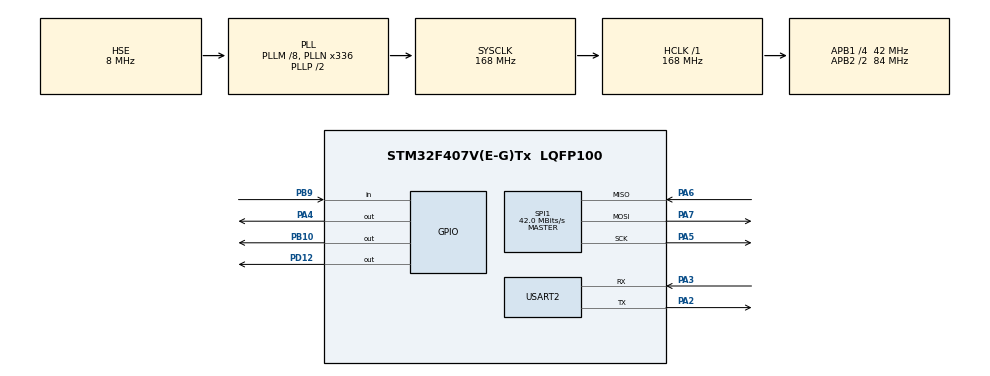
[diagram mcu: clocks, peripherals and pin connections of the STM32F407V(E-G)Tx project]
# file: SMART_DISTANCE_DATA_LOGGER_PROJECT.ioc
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FREERTOS.Queues01=DistanceQueue,10,8,1,Dynamic,NULL,NULL;UartQueue,10,50,1,Dynamic,NULL,NULL
FREERTOS.Tasks01=SensorTask,32,256,StartSensorTask,Default,NULL,Dynamic,NULL,NULL;FlashTask,24,256,StartFlashTask,Default,NULL,Dynamic,NULL,NULL;AlertTask,24,128,StartAlertTask,Default,NULL,Dynamic,NULL,NULL;UartTask,8,256,StartUartTask,Default,NULL,Dynamic,NULL,NULL
Mcu.Family=STM32F4
Mcu.Name=STM32F407V(E-G)Tx
Mcu.Package=LQFP100
NVIC.PriorityGroup=NVIC_PRIORITYGROUP_4
PA2.Mode=Asynchronous
PA2.Signal=USART2_TX
PA3.Mode=Asynchronous
PA3.Signal=USART2_RX
PA4.Signal=GPIO_Output
PA5.Mode=Full_Duplex_Master
PA5.Signal=SPI1_SCK
PA6.Mode=Full_Duplex_Master
PA6.Signal=SPI1_MISO
PA7.Mode=Full_Duplex_Master
PA7.Signal=SPI1_MOSI
PB10.Signal=GPIO_Output
PB9.Signal=GPIO_Input
PD12.Signal=GPIO_Output
PH0-OSC_IN.Mode=HSE-External-Oscillator
PH0-OSC_IN.Signal=RCC_OSC_IN
PH1-OSC_OUT.Mode=HSE-External-Oscillator
PH1-OSC_OUT.Signal=RCC_OSC_OUT
ProjectManager.HeapSize=0x200
ProjectManager.StackSize=0x400
ProjectManager.TargetToolchain=STM32CubeIDE
RCC.48MHZClocksFreq_Value=48000000
RCC.AHBFreq_Value=168000000
RCC.APB1CLKDivider=RCC_HCLK_DIV4
RCC.APB1Freq_Value=42000000
RCC.APB1TimFreq_Value=84000000
RCC.APB2CLKDivider=RCC_HCLK_DIV2
RCC.APB2Freq_Value=84000000
RCC.APB2TimFreq_Value=168000000
RCC.CortexFreq_Value=168000000
RCC.HCLKFreq_Value=168000000
RCC.HSE_VALUE=8000000
RCC.HSI_VALUE=16000000
RCC.PLLM=8
RCC.PLLN=336
RCC.PLLQ=7
RCC.PLLSourceVirtual=RCC_PLLSOURCE_HSE
RCC.SYSCLKFreq_VALUE=168000000
RCC.SYSCLKSource=RCC_SYSCLKSOURCE_PLLCLK
RCC.VCOOutputFreq_Value=336000000
SPI1.CalculateBaudRate=42.0 MBits/s
SPI1.Direction=SPI_DIRECTION_2LINES
SPI1.Mode=SPI_MODE_MASTER
SPI1.VirtualType=VM_MASTER
USART2.VirtualMode=VM_ASYNC
VP_FREERTOS_VS_CMSIS_V2.Mode=CMSIS_V2
VP_TIM3_VS_ClockSourceINT.Mode=Internal
board=STM32F407G-DISC1

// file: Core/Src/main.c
/* USER CODE BEGIN Header */
/**
  ******************************************************************************
  * @file           : main.c
  * @brief          : Main program body
  ******************************************************************************
  * @attention
  *
  * Copyright (c) 2026 STMicroelectronics.
  * All rights reserved.
  *
  * This software is licensed under terms that can be found in the LICENSE file
  * in the root directory of this software component.
  * If no LICENSE file comes with this software, it is provided AS-IS.
  *
  ******************************************************************************
  */
/* USER CODE END Header */
#include "main.h"
#include "cmsis_os.h"
#include <stdio.h>
#include <string.h>

/* USER CODE BEGIN PD */
#define TRIG_PORT GPIOB
#define TRIG_PIN  GPIO_PIN_10

#define ECHO_PORT GPIOB
#define ECHO_PIN  GPIO_PIN_9
/* USER CODE END PD */

SPI_HandleTypeDef hspi1;

TIM_HandleTypeDef htim3;

UART_HandleTypeDef huart2;

/* Definitions for SensorTask */
osThreadId_t SensorTaskHandle;
const osThreadAttr_t SensorTask_attributes = {
  .name = "SensorTask",
  .stack_size = 256 * 4,
  .priority = (osPriority_t) osPriorityAboveNormal,
};
/* Definitions for FlashTask */
osThreadId_t FlashTaskHandle;
const osThreadAttr_t FlashTask_attributes = {
  .name = "FlashTask",
  .stack_size = 256 * 4,
  .priority = (osPriority_t) osPriorityNormal,
};
/* Definitions for AlertTask */
osThreadId_t AlertTaskHandle;
const osThreadAttr_t AlertTask_attributes = {
  .name = "AlertTask",
  .stack_size = 128 * 4,
  .priority = (osPriority_t) osPriorityNormal,
};
/* Definitions for UartTask */
osThreadId_t UartTaskHandle;
const osThreadAttr_t UartTask_attributes = {
  .name = "UartTask",
  .stack_size = 256 * 4,
  .priority = (osPriority_t) osPriorityLow,
};
/* Definitions for DistanceQueue */
osMessageQueueId_t DistanceQueueHandle;
const osMessageQueueAttr_t DistanceQueue_attributes = {
  .name = "DistanceQueue"
};
/* Definitions for UartQueue */
osMessageQueueId_t UartQueueHandle;
const osMessageQueueAttr_t UartQueue_attributes = {
  .name = "UartQueue"
};
/* USER CODE BEGIN PV */

typedef struct
{
	float distance;
	uint32_t timestamp;
}DistanceData_t;

DistanceData_t sensorData;

char uartMsg[100];
typedef struct
{
    char msg[100];
}UartMessage_t;
UartMessage_t uartData;

/* USER CODE END PV */

void SystemClock_Config(void);
static void MX_GPIO_Init(void);
static void MX_SPI1_Init(void);
static void MX_USART2_UART_Init(void);
static void MX_TIM3_Init(void);
void StartSensorTask(void *argument);
void StartFlashTask(void *argument);
void StartAlertTask(void *argument);
void StartUartTask(void *argument);

/* USER CODE BEGIN PFP */
int get_distance(void);
void delay_us(uint16_t us);
void UART_Print(char *msg);
/* USER CODE END PFP */

/* USER CODE BEGIN 0 */
void UART_Print(char *msg)
{
	HAL_UART_Transmit(&huart2,
			(uint8_t*)msg,
			strlen(msg),
			HAL_MAX_DELAY);
}

int get_distance(void)
{
    uint32_t duration;

    HAL_GPIO_WritePin(TRIG_PORT, TRIG_PIN, GPIO_PIN_RESET);
    delay_us(2);

    HAL_GPIO_WritePin(TRIG_PORT, TRIG_PIN, GPIO_PIN_SET);
    delay_us(10);

    HAL_GPIO_WritePin(TRIG_PORT, TRIG_PIN, GPIO_PIN_RESET);

    uint32_t timeout = 30000;

    while(HAL_GPIO_ReadPin(ECHO_PORT, ECHO_PIN) == GPIO_PIN_RESET)
    {
        if(--timeout == 0)
            return -1;
    }

    __HAL_TIM_SET_COUNTER(&htim3,0);

    while(HAL_GPIO_ReadPin(ECHO_PORT, ECHO_PIN) == GPIO_PIN_SET)
    {
        if(__HAL_TIM_GET_COUNTER(&htim3) > 30000)
            break;
    }

    duration = __HAL_TIM_GET_COUNTER(&htim3);

    return (duration / 58);
}

void delay_us(uint16_t us)
{
	__HAL_TIM_SET_COUNTER(&htim3, 0);
	while(__HAL_TIM_GET_COUNTER(&htim3) < us);
}
/* USER CODE END 0 */

int main(void)
{

  /* MCU Configuration--------------------------------------------------------*/

  /* Reset of all peripherals, Initializes the Flash interface and the Systick. */
  HAL_Init();

  /* Configure the system clock */
  SystemClock_Config();

  /* Initialize all configured peripherals */
  MX_GPIO_Init();
  MX_SPI1_Init();
  MX_USART2_UART_Init();
  MX_TIM3_Init();
  /* USER CODE BEGIN 2 */
  HAL_TIM_Base_Start(&htim3);
  /* USER CODE END 2 */
  UART_Print("\r\nSystem Started\r\n");
  /* Init scheduler */
  osKernelInitialize();

  /* Create the queue(s) */
  /* creation of DistanceQueue */
  DistanceQueueHandle = osMessageQueueNew (10, 8, &DistanceQueue_attributes);

  /* creation of UartQueue */
  UartQueueHandle = osMessageQueueNew (10, sizeof(UartMessage_t), &UartQueue_attributes);

  /* Create the thread(s) */
  /* creation of SensorTask */
  SensorTaskHandle = osThreadNew(StartSensorTask, NULL, &SensorTask_attributes);

  /* creation of FlashTask */
  FlashTaskHandle = osThreadNew(StartFlashTask, NULL, &FlashTask_attributes);

  /* creation of AlertTask */
  AlertTaskHandle = osThreadNew(StartAlertTask, NULL, &AlertTask_attributes);

  /* creation of UartTask */
  UartTaskHandle = osThreadNew(StartUartTask, NULL, &UartTask_attributes);

  /* Start scheduler */
  osKernelStart();

  /* We should never get here as control is now taken by the scheduler */

  /* Infinite loop */

}

void SystemClock_Config(void)
{
  RCC_OscInitTypeDef RCC_OscInitStruct = {0};
  RCC_ClkInitTypeDef RCC_ClkInitStruct = {0};

  /** Configure the main internal regulator output voltage
  */
  __HAL_RCC_PWR_CLK_ENABLE();
  __HAL_PWR_VOLTAGESCALING_CONFIG(PWR_REGULATOR_VOLTAGE_SCALE1);

  /** Initializes the RCC Oscillators according to the specified parameters
  * in the RCC_OscInitTypeDef structure.
  */
  RCC_OscInitStruct.OscillatorType = RCC_OSCILLATORTYPE_HSE;
  RCC_OscInitStruct.HSEState = RCC_HSE_ON;
  RCC_OscInitStruct.PLL.PLLState = RCC_PLL_ON;
  RCC_OscInitStruct.PLL.PLLSource = RCC_PLLSOURCE_HSE;
  RCC_OscInitStruct.PLL.PLLM = 8;
  RCC_OscInitStruct.PLL.PLLN = 336;
  RCC_OscInitStruct.PLL.PLLP = RCC_PLLP_DIV2;
  RCC_OscInitStruct.PLL.PLLQ = 7;
  if (HAL_RCC_OscConfig(&RCC_OscInitStruct) != HAL_OK)
  {
    Error_Handler();
  }

  /** Initializes the CPU, AHB and APB buses clocks
  */
  RCC_ClkInitStruct.ClockType = RCC_CLOCKTYPE_HCLK|RCC_CLOCKTYPE_SYSCLK
                              |RCC_CLOCKTYPE_PCLK1|RCC_CLOCKTYPE_PCLK2;
  RCC_ClkInitStruct.SYSCLKSource = RCC_SYSCLKSOURCE_PLLCLK;
  RCC_ClkInitStruct.AHBCLKDivider = RCC_SYSCLK_DIV1;
  RCC_ClkInitStruct.APB1CLKDivider = RCC_HCLK_DIV4;
  RCC_ClkInitStruct.APB2CLKDivider = RCC_HCLK_DIV2;

  if (HAL_RCC_ClockConfig(&RCC_ClkInitStruct, FLASH_LATENCY_5) != HAL_OK)
  {
    Error_Handler();
  }
}

static void MX_SPI1_Init(void)
{

  /* SPI1 parameter configuration*/
  hspi1.Instance = SPI1;
  hspi1.Init.Mode = SPI_MODE_MASTER;
  hspi1.Init.Direction = SPI_DIRECTION_2LINES;
  hspi1.Init.DataSize = SPI_DATASIZE_8BIT;
  hspi1.Init.CLKPolarity = SPI_POLARITY_LOW;
  hspi1.Init.CLKPhase = SPI_PHASE_1EDGE;
  hspi1.Init.NSS = SPI_NSS_SOFT;
  hspi1.Init.BaudRatePrescaler = SPI_BAUDRATEPRESCALER_2;
  hspi1.Init.FirstBit = SPI_FIRSTBIT_MSB;
  hspi1.Init.TIMode = SPI_TIMODE_DISABLE;
  hspi1.Init.CRCCalculation = SPI_CRCCALCULATION_DISABLE;
  hspi1.Init.CRCPolynomial = 10;
  if (HAL_SPI_Init(&hspi1) != HAL_OK)
  {
    Error_Handler();
  }

}

static void MX_TIM3_Init(void)
{

  TIM_ClockConfigTypeDef sClockSourceConfig = {0};
  TIM_MasterConfigTypeDef sMasterConfig = {0};

  htim3.Instance = TIM3;
  htim3.Init.Prescaler = 50-1;
  htim3.Init.CounterMode = TIM_COUNTERMODE_UP;
  htim3.Init.Period = 65535;
  htim3.Init.ClockDivision = TIM_CLOCKDIVISION_DIV1;
  htim3.Init.AutoReloadPreload = TIM_AUTORELOAD_PRELOAD_DISABLE;
  if (HAL_TIM_Base_Init(&htim3) != HAL_OK)
  {
    Error_Handler();
  }
  sClockSourceConfig.ClockSource = TIM_CLOCKSOURCE_INTERNAL;
  if (HAL_TIM_ConfigClockSource(&htim3, &sClockSourceConfig) != HAL_OK)
  {
    Error_Handler();
  }
  sMasterConfig.MasterOutputTrigger = TIM_TRGO_RESET;
  sMasterConfig.MasterSlaveMode = TIM_MASTERSLAVEMODE_DISABLE;
  if (HAL_TIMEx_MasterConfigSynchronization(&htim3, &sMasterConfig) != HAL_OK)
  {
    Error_Handler();
  }

}

static void MX_USART2_UART_Init(void)
{

  huart2.Instance = USART2;
  huart2.Init.BaudRate = 115200;
  huart2.Init.WordLength = UART_WORDLENGTH_8B;
  huart2.Init.StopBits = UART_STOPBITS_1;
  huart2.Init.Parity = UART_PARITY_NONE;
  huart2.Init.Mode = UART_MODE_TX_RX;
  huart2.Init.HwFlowCtl = UART_HWCONTROL_NONE;
  huart2.Init.OverSampling = UART_OVERSAMPLING_16;
  if (HAL_UART_Init(&huart2) != HAL_OK)
  {
    Error_Handler();
  }

}

static void MX_GPIO_Init(void)
{
  GPIO_InitTypeDef GPIO_InitStruct = {0};

  /* GPIO Ports Clock Enable */
  __HAL_RCC_GPIOH_CLK_ENABLE();
  __HAL_RCC_GPIOA_CLK_ENABLE();
  __HAL_RCC_GPIOB_CLK_ENABLE();
  __HAL_RCC_GPIOD_CLK_ENABLE();

  /*Configure GPIO pin Output Level */
  HAL_GPIO_WritePin(GPIOA, GPIO_PIN_4, GPIO_PIN_RESET);

  /*Configure GPIO pin Output Level */
  HAL_GPIO_WritePin(GPIOB, GPIO_PIN_10, GPIO_PIN_RESET);

  /*Configure GPIO pin Output Level */
  HAL_GPIO_WritePin(GPIOD, GPIO_PIN_12, GPIO_PIN_RESET);

  /*Configure GPIO pin : PA4 */
  GPIO_InitStruct.Pin = GPIO_PIN_4;
  GPIO_InitStruct.Mode = GPIO_MODE_OUTPUT_PP;
  GPIO_InitStruct.Pull = GPIO_NOPULL;
  GPIO_InitStruct.Speed = GPIO_SPEED_FREQ_LOW;
  HAL_GPIO_Init(GPIOA, &GPIO_InitStruct);

  /*Configure GPIO pin : PB10 */
  GPIO_InitStruct.Pin = GPIO_PIN_10;
  GPIO_InitStruct.Mode = GPIO_MODE_OUTPUT_PP;
  GPIO_InitStruct.Pull = GPIO_NOPULL;
  GPIO_InitStruct.Speed = GPIO_SPEED_FREQ_LOW;
  HAL_GPIO_Init(GPIOB, &GPIO_InitStruct);

  /*Configure GPIO pin : PD12 */
  GPIO_InitStruct.Pin = GPIO_PIN_12;
  GPIO_InitStruct.Mode = GPIO_MODE_OUTPUT_PP;
  GPIO_InitStruct.Pull = GPIO_NOPULL;
  GPIO_InitStruct.Speed = GPIO_SPEED_FREQ_LOW;
  HAL_GPIO_Init(GPIOD, &GPIO_InitStruct);

  /*Configure GPIO pin : PB9 */
  GPIO_InitStruct.Pin = GPIO_PIN_9;
  GPIO_InitStruct.Mode = GPIO_MODE_INPUT;
  GPIO_InitStruct.Pull = GPIO_NOPULL;
  HAL_GPIO_Init(GPIOB, &GPIO_InitStruct);

}

void StartSensorTask(void *argument)
{
    for(;;)
    {
        sensorData.distance = get_distance();
        sensorData.timestamp = osKernelGetTickCount();

        osMessageQueuePut(
                DistanceQueueHandle,
                &sensorData,
                0,
                0);

        osDelay(100);
    }
}

void StartFlashTask(void *argument)
{
    DistanceData_t rxData;
    UartMessage_t txData;

    for(;;)
    {
        if(osMessageQueueGet(
                DistanceQueueHandle,
                &rxData,
                NULL,
                osWaitForever) == osOK)
        {
            // Future SPI Flash Write

            //sprintf(txData.msg,"Logged Distance = %.2f cm Tick=%lu\r\n",rxData.distance,rxData.timestamp);
            sprintf(txData.msg,
                    "Logged Distance = %d cm Tick=%lu\r\n",
                    (int)rxData.distance,
                    rxData.timestamp);
            osMessageQueuePut(
                    UartQueueHandle,
                    &txData,
                    0,
                    0);
        }
    }
}

void StartAlertTask(void *argument)
{
    for(;;)
    {
        if(sensorData.distance < 30)
        {
            HAL_GPIO_WritePin(
                    GPIOD,
                    GPIO_PIN_12,
                    GPIO_PIN_SET);
        }
        else
        {
            HAL_GPIO_WritePin(
                    GPIOD,
                    GPIO_PIN_12,
                    GPIO_PIN_RESET);
        }

        osDelay(100);
    }
}

void StartUartTask(void *argument)
{
    UartMessage_t rxMsg;

    for(;;)
    {
        if(osMessageQueueGet(
                UartQueueHandle,
                &rxMsg,
                NULL,
                osWaitForever) == osOK)
        {
            HAL_UART_Transmit(
                    &huart2,
                    (uint8_t*)rxMsg.msg,
                    strlen(rxMsg.msg),
                    HAL_MAX_DELAY);
        }
    }
}

void Error_Handler(void)
{
  __disable_irq();
  while (1)
  {
  }
}
